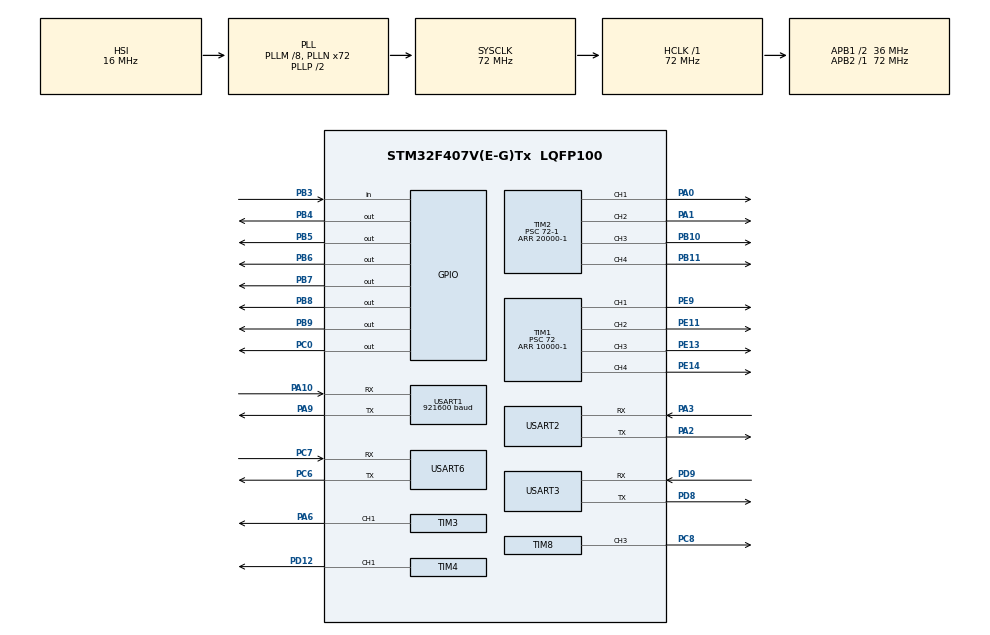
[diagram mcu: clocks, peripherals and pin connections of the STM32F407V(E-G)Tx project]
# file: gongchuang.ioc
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Dma.Request0=USART2_RX
Dma.Request1=USART1_RX
Dma.Request2=USART3_RX
Dma.Request3=USART6_RX
Dma.USART1_RX.1.Direction=DMA_PERIPH_TO_MEMORY
Dma.USART1_RX.1.FIFOMode=DMA_FIFOMODE_DISABLE
Dma.USART1_RX.1.Instance=DMA2_Stream2
Dma.USART1_RX.1.MemDataAlignment=DMA_MDATAALIGN_BYTE
Dma.USART1_RX.1.MemInc=DMA_MINC_ENABLE
Dma.USART1_RX.1.Mode=DMA_NORMAL
Dma.USART1_RX.1.PeriphDataAlignment=DMA_PDATAALIGN_BYTE
Dma.USART1_RX.1.PeriphInc=DMA_PINC_DISABLE
Dma.USART1_RX.1.Priority=DMA_PRIORITY_HIGH
Dma.USART2_RX.0.Direction=DMA_PERIPH_TO_MEMORY
Dma.USART2_RX.0.FIFOMode=DMA_FIFOMODE_DISABLE
Dma.USART2_RX.0.Instance=DMA1_Stream5
Dma.USART2_RX.0.MemDataAlignment=DMA_MDATAALIGN_BYTE
Dma.USART2_RX.0.MemInc=DMA_MINC_ENABLE
Dma.USART2_RX.0.Mode=DMA_NORMAL
Dma.USART2_RX.0.PeriphDataAlignment=DMA_PDATAALIGN_BYTE
Dma.USART2_RX.0.PeriphInc=DMA_PINC_DISABLE
Dma.USART2_RX.0.Priority=DMA_PRIORITY_LOW
Dma.USART3_RX.2.Direction=DMA_PERIPH_TO_MEMORY
Dma.USART3_RX.2.FIFOMode=DMA_FIFOMODE_DISABLE
Dma.USART3_RX.2.Instance=DMA1_Stream1
Dma.USART3_RX.2.MemDataAlignment=DMA_MDATAALIGN_BYTE
Dma.USART3_RX.2.MemInc=DMA_MINC_ENABLE
Dma.USART3_RX.2.Mode=DMA_NORMAL
Dma.USART3_RX.2.PeriphDataAlignment=DMA_PDATAALIGN_BYTE
Dma.USART3_RX.2.PeriphInc=DMA_PINC_DISABLE
Dma.USART3_RX.2.Priority=DMA_PRIORITY_LOW
Dma.USART6_RX.3.Direction=DMA_PERIPH_TO_MEMORY
Dma.USART6_RX.3.FIFOMode=DMA_FIFOMODE_DISABLE
Dma.USART6_RX.3.Instance=DMA2_Stream1
Dma.USART6_RX.3.MemDataAlignment=DMA_MDATAALIGN_BYTE
Dma.USART6_RX.3.MemInc=DMA_MINC_ENABLE
Dma.USART6_RX.3.Mode=DMA_NORMAL
Dma.USART6_RX.3.PeriphDataAlignment=DMA_PDATAALIGN_BYTE
Dma.USART6_RX.3.PeriphInc=DMA_PINC_DISABLE
Dma.USART6_RX.3.Priority=DMA_PRIORITY_LOW
Mcu.Family=STM32F4
Mcu.Name=STM32F407V(E-G)Tx
Mcu.Package=LQFP100
NVIC.DMA1_Stream1_IRQn=true\:0\:0\:false\:false\:true\:false\:true\:true
NVIC.DMA1_Stream5_IRQn=true\:0\:0\:false\:false\:true\:false\:true\:true
NVIC.DMA2_Stream1_IRQn=true\:0\:0\:false\:false\:true\:false\:true\:true
NVIC.DMA2_Stream2_IRQn=true\:0\:0\:false\:false\:true\:false\:true\:true
NVIC.PriorityGroup=NVIC_PRIORITYGROUP_4
NVIC.TIM1_UP_TIM10_IRQn=true\:0\:0\:false\:false\:true\:true\:true\:true
NVIC.TIM2_IRQn=true\:0\:0\:false\:false\:true\:true\:true\:true
NVIC.TIM3_IRQn=true\:0\:0\:false\:false\:true\:true\:true\:true
NVIC.TIM4_IRQn=true\:0\:0\:false\:false\:true\:true\:true\:true
NVIC.TIM5_IRQn=true\:0\:0\:false\:false\:true\:true\:true\:true
NVIC.TIM8_UP_TIM13_IRQn=true\:0\:0\:false\:false\:true\:true\:true\:true
NVIC.USART1_IRQn=true\:0\:0\:false\:false\:true\:true\:true\:true
NVIC.USART2_IRQn=true\:0\:0\:false\:false\:true\:true\:true\:true
NVIC.USART3_IRQn=true\:0\:0\:false\:false\:true\:true\:true\:true
NVIC.USART6_IRQn=true\:0\:0\:false\:false\:true\:true\:true\:true
PA0-WKUP.Signal=S_TIM2_CH1_ETR
PA1.Signal=S_TIM2_CH2
PA10.Mode=Asynchronous
PA10.Signal=USART1_RX
PA13.Mode=Serial_Wire
PA13.Signal=SYS_JTMS-SWDIO
PA14.Mode=Serial_Wire
PA14.Signal=SYS_JTCK-SWCLK
PA2.Mode=Asynchronous
PA2.Signal=USART2_TX
PA3.Mode=Asynchronous
PA3.Signal=USART2_RX
PA6.Signal=S_TIM3_CH1
PA9.Mode=Asynchronous
PA9.Signal=USART1_TX
PB10.Signal=S_TIM2_CH3
PB11.Signal=S_TIM2_CH4
PB3.Signal=GPIO_Input
PB4.Signal=GPIO_Output
PB5.Signal=GPIO_Output
PB6.Signal=GPIO_Output
PB7.Signal=GPIO_Output
PB8.Signal=GPIO_Output
PB9.Signal=GPIO_Output
PC0.Signal=GPIO_Output
PC6.Mode=Asynchronous
PC6.Signal=USART6_TX
PC7.Mode=Asynchronous
PC7.Signal=USART6_RX
PC8.Signal=S_TIM8_CH3
PD12.Signal=S_TIM4_CH1
PD8.Mode=Asynchronous
PD8.Signal=USART3_TX
PD9.Mode=Asynchronous
PD9.Signal=USART3_RX
PE11.Signal=S_TIM1_CH2
PE13.Signal=S_TIM1_CH3
PE14.Signal=S_TIM1_CH4
PE9.Signal=S_TIM1_CH1
PH0-OSC_IN.Mode=HSE-External-Oscillator
PH0-OSC_IN.Signal=RCC_OSC_IN
PH1-OSC_OUT.Mode=HSE-External-Oscillator
PH1-OSC_OUT.Signal=RCC_OSC_OUT
ProjectManager.HeapSize=0x200
ProjectManager.StackSize=0x400
ProjectManager.TargetToolchain=MDK-ARM V5.32
RCC.48MHZClocksFreq_Value=36000000
RCC.AHBFreq_Value=72000000
RCC.APB1CLKDivider=RCC_HCLK_DIV2
RCC.APB1Freq_Value=36000000
RCC.APB1TimFreq_Value=72000000
RCC.APB2Freq_Value=72000000
RCC.APB2TimFreq_Value=72000000
RCC.CortexFreq_Value=72000000
RCC.HCLKFreq_Value=72000000
RCC.HSE_VALUE=25000000
RCC.HSI_VALUE=16000000
RCC.LSE_VALUE=32768
RCC.PLLM=8
RCC.PLLN=72
RCC.SYSCLKFreq_VALUE=72000000
RCC.SYSCLKSource=RCC_SYSCLKSOURCE_PLLCLK
RCC.VCOOutputFreq_Value=144000000
SH.S_TIM1_CH1.0=TIM1_CH1,PWM Generation1 CH1
SH.S_TIM1_CH2.0=TIM1_CH2,PWM Generation2 CH2
SH.S_TIM1_CH3.0=TIM1_CH3,PWM Generation3 CH3
SH.S_TIM1_CH4.0=TIM1_CH4,PWM Generation4 CH4
SH.S_TIM2_CH1_ETR.0=TIM2_CH1,PWM Generation1 CH1
SH.S_TIM2_CH2.0=TIM2_CH2,PWM Generation2 CH2
SH.S_TIM2_CH3.0=TIM2_CH3,PWM Generation3 CH3
SH.S_TIM2_CH4.0=TIM2_CH4,PWM Generation4 CH4
SH.S_TIM3_CH1.0=TIM3_CH1,PWM Generation1 CH1
SH.S_TIM4_CH1.0=TIM4_CH1,PWM Generation1 CH1
SH.S_TIM8_CH3.0=TIM8_CH3,PWM Generation3 CH3
TIM1.Channel-PWM\ Generation1\ CH1=TIM_CHANNEL_1
TIM1.Channel-PWM\ Generation2\ CH2=TIM_CHANNEL_2
TIM1.Channel-PWM\ Generation3\ CH3=TIM_CHANNEL_3
TIM1.Channel-PWM\ Generation4\ CH4=TIM_CHANNEL_4
TIM1.Period=10000-1
TIM1.Prescaler=72
TIM2.Channel-PWM\ Generation1\ CH1=TIM_CHANNEL_1
TIM2.Channel-PWM\ Generation2\ CH2=TIM_CHANNEL_2
TIM2.Channel-PWM\ Generation3\ CH3=TIM_CHANNEL_3
TIM2.Channel-PWM\ Generation4\ CH4=TIM_CHANNEL_4
TIM2.Period=20000-1
TIM2.Prescaler=72-1
TIM2.Pulse-PWM\ Generation1\ CH1=0
TIM2.Pulse-PWM\ Generation2\ CH2=0
TIM2.Pulse-PWM\ Generation3\ CH3=0
TIM2.Pulse-PWM\ Generation4\ CH4=0
TIM3.Channel-PWM\ Generation1\ CH1=TIM_CHANNEL_1
TIM3.Period=10000-1
TIM3.Prescaler=72
TIM4.Channel-PWM\ Generation1\ CH1=TIM_CHANNEL_1
TIM4.Period=20000-1
TIM4.Prescaler=72-1
TIM5.Period=9999
TIM5.Prescaler=71
TIM8.Channel-PWM\ Generation3\ CH3=TIM_CHANNEL_3
TIM8.Period=10000-1
TIM8.Prescaler=71
USART1.BaudRate=921600
USART1.VirtualMode=VM_ASYNC
USART2.VirtualMode=VM_ASYNC
USART3.VirtualMode=VM_ASYNC
USART6.VirtualMode=VM_ASYNC
VP_TIM1_VS_ClockSourceINT.Mode=Internal
VP_TIM3_VS_ClockSourceINT.Mode=Internal
VP_TIM5_VS_ClockSourceINT.Mode=Internal
VP_TIM8_VS_ClockSourceINT.Mode=Internal
board=custom

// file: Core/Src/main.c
/* USER CODE BEGIN Header */
/**
 ******************************************************************************
 * @file           : main.c
 * @brief          : Main program body
 ******************************************************************************
 * @attention
 *
 * Copyright (c) 2024 STMicroelectronics.
 * All rights reserved.
 *
 * This software is licensed under terms that can be found in the LICENSE file
 * in the root directory of this software component.
 * If no LICENSE file comes with this software, it is provided AS-IS.
 *
 ******************************************************************************
 */
/* USER CODE END Header */
#include "main.h"
#include "dma.h"
#include "tim.h"
#include "usart.h"
#include "gpio.h"

/* USER CODE BEGIN Includes */
#include "mymain.h"
#include "stdio.h"
#include "uart.h"
/* USER CODE END Includes */

void SystemClock_Config(void);

/* USER CODE BEGIN 0 */
int fputc(int ch, FILE *f) // printf
{
  HAL_UART_Transmit(&huart1, (uint8_t *)&ch, 1, 0xffff);
  return ch;
}
int fgetc(FILE *f) // getchar
{
  uint8_t ch = 0;
  HAL_UART_Receive(&huart1, &ch, 1, 0xffff);
  return ch;
}
/* USER CODE END 0 */

int main(void)
{

  /* MCU Configuration--------------------------------------------------------*/

  /* Reset of all peripherals, Initializes the Flash interface and the Systick. */
  HAL_Init();

  /* Configure the system clock */
  SystemClock_Config();

  /* Initialize all configured peripherals */
  MX_GPIO_Init();
  MX_DMA_Init();
  MX_USART1_UART_Init();
  MX_USART2_UART_Init();
  MX_TIM1_Init();
  MX_TIM2_Init();
  MX_TIM3_Init();
  MX_TIM5_Init();
  MX_USART3_UART_Init();
  MX_USART6_UART_Init();
  MX_TIM4_Init();
  MX_TIM8_Init();
  /* USER CODE BEGIN 2 */
	DMA_USART_Init(&huart1);
	DMA_USART_Init(&huart2);
	DMA_USART_Init(&huart3);
	DMA_USART_Init(&huart6);
  system_init();
  // init order
  HAL_UART_Transmit(&huart1, "START", 5, 0xff);
  // test order
	//test_catch();
	//test_put();
	// steer_control(steer_catch,20);
	// steer_control(steer_plate,20);
  /* USER CODE END 2 */

  /* Infinite loop */
  while (1)
  {

    /* USER CODE BEGIN 3 */
    mymain();

    // printf("time_Tick_s:%f\n",time_Tick_s);
    if(1)
    {
      HAL_Delay(1000);
    }
  }
  /* USER CODE END 3 */
}

void SystemClock_Config(void)
{
  RCC_OscInitTypeDef RCC_OscInitStruct = {0};
  RCC_ClkInitTypeDef RCC_ClkInitStruct = {0};

  /** Configure the main internal regulator output voltage
  */
  __HAL_RCC_PWR_CLK_ENABLE();
  __HAL_PWR_VOLTAGESCALING_CONFIG(PWR_REGULATOR_VOLTAGE_SCALE1);

  /** Initializes the RCC Oscillators according to the specified parameters
  * in the RCC_OscInitTypeDef structure.
  */
  RCC_OscInitStruct.OscillatorType = RCC_OSCILLATORTYPE_HSI;
  RCC_OscInitStruct.HSIState = RCC_HSI_ON;
  RCC_OscInitStruct.HSICalibrationValue = RCC_HSICALIBRATION_DEFAULT;
  RCC_OscInitStruct.PLL.PLLState = RCC_PLL_ON;
  RCC_OscInitStruct.PLL.PLLSource = RCC_PLLSOURCE_HSI;
  RCC_OscInitStruct.PLL.PLLM = 8;
  RCC_OscInitStruct.PLL.PLLN = 72;
  RCC_OscInitStruct.PLL.PLLP = RCC_PLLP_DIV2;
  RCC_OscInitStruct.PLL.PLLQ = 4;
  if (HAL_RCC_OscConfig(&RCC_OscInitStruct) != HAL_OK)
  {
    Error_Handler();
  }

  /** Initializes the CPU, AHB and APB buses clocks
  */
  RCC_ClkInitStruct.ClockType = RCC_CLOCKTYPE_HCLK|RCC_CLOCKTYPE_SYSCLK
                              |RCC_CLOCKTYPE_PCLK1|RCC_CLOCKTYPE_PCLK2;
  RCC_ClkInitStruct.SYSCLKSource = RCC_SYSCLKSOURCE_PLLCLK;
  RCC_ClkInitStruct.AHBCLKDivider = RCC_SYSCLK_DIV1;
  RCC_ClkInitStruct.APB1CLKDivider = RCC_HCLK_DIV2;
  RCC_ClkInitStruct.APB2CLKDivider = RCC_HCLK_DIV1;

  if (HAL_RCC_ClockConfig(&RCC_ClkInitStruct, FLASH_LATENCY_2) != HAL_OK)
  {
    Error_Handler();
  }
}

void Error_Handler(void)
{
  __disable_irq();
  while (1)
  {
  }
}
